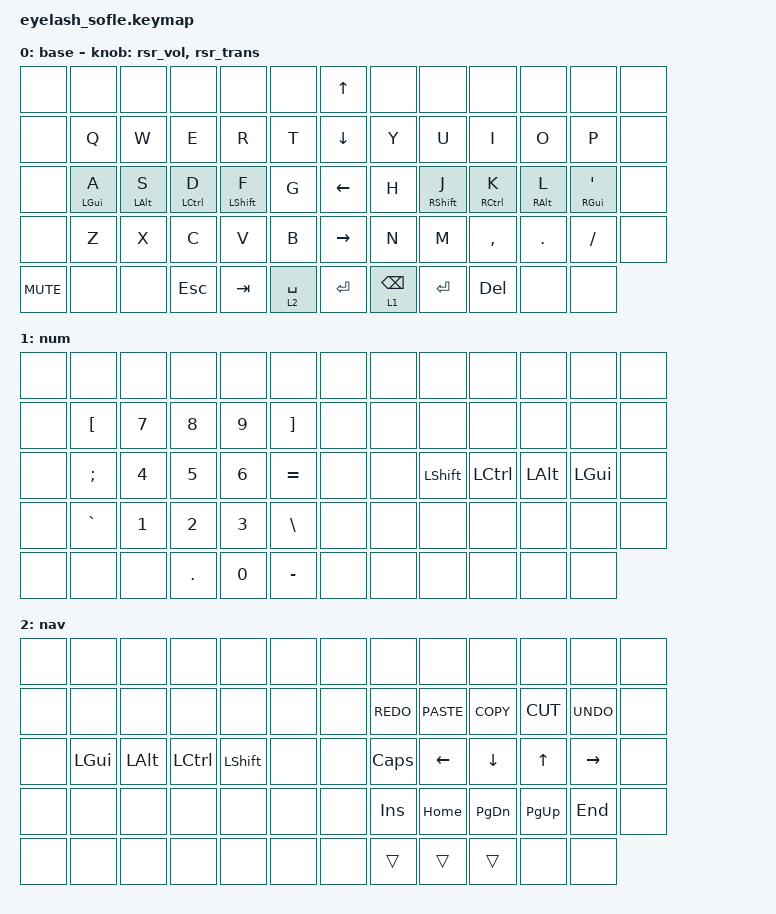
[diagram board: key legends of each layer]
#define ZMK_POINTING_DEFAULT_MOVE_VAL 1200  // 600
#define ZMK_POINTING_DEFAULT_SCRL_VAL 25   // 10

#include <input/processors.dtsi>
#include <zephyr/dt-bindings/input/input-event-codes.h>
#include <behaviors/runtime-sensor-rotate.dtsi>
#include <behaviors.dtsi>
#include <dt-bindings/zmk/keys.h>
#include <dt-bindings/zmk/pointing.h>

&mmv_input_listener { input-processors = <&zip_xy_scaler 2 1>; };

&msc_input_listener { input-processors = <&zip_scroll_scaler 2 1>; };

&msc {
    acceleration-exponent = <1>;      // 0
    time-to-max-speed-ms = <100>;       // 300
    delay-ms = <0>;                   // 0
};

&mmv {
    time-to-max-speed-ms = <500>;
    acceleration-exponent = <1>;
    trigger-period-ms = <16>;
};

&soft_off { hold-time-ms = <2000>; };

/ {
    scroll_encoder: scroll_encoder {
        compatible = "zmk,behavior-sensor-rotate";
        #sensor-binding-cells = <0>;
        bindings = <&msc SCRL_DOWN>, <&msc SCRL_UP>;

        tap-ms = <100>;
    };

    behaviors {
        rsr_vol: rsr_vol {
            compatible = "zmk,behavior-runtime-sensor-rotate";
            #sensor-binding-cells = <0>;
            tap-ms = <5>;
            cw-binding = <&kp C_VOL_UP>;
            ccw-binding = <&kp C_VOL_DN>;
        };

        rsr_trans: rsr_trans {
            compatible = "zmk,behavior-runtime-sensor-rotate";
            #sensor-binding-cells = <0>;
            tap-ms = <0>;
        };
    };

    combos {
        compatible = "zmk,combos";

        softoff {
            bindings = <&soft_off>;
            key-positions = <14 28 40>;
        };
    };

    macros {
        SHIFT_MCLK: SHIFT_MCLK {
            compatible = "zmk,behavior-macro";
            #binding-cells = <0>;
            bindings =
                <&macro_press>,
                <&kp LEFT_SHIFT>,
                <&macro_press>,
                <&mkp MB3>,
                <&macro_pause_for_release>,
                <&macro_release>,
                <&kp LEFT_SHIFT &mkp MB3>;

            label = "SHIFT_MCLK";
        };
    };

    keymap {
        compatible = "zmk,keymap";

        base {
            bindings = <
&none       &none           &none           &none        &none             &none          &kp UP_ARROW     &none            &none              &none                &none            &none                     &none
&none       &kp Q           &kp W           &kp E        &kp R             &kp T          &kp DOWN_ARROW   &kp Y            &kp U              &kp I                &kp O            &kp P                     &none
&none       &mt LEFT_GUI A  &mt LEFT_ALT S  &mt LCTRL D  &mt LEFT_SHIFT F  &kp G          &kp LEFT_ARROW   &kp H            &mt RIGHT_SHIFT J  &mt RIGHT_CONTROL K  &mt RIGHT_ALT L  &mt RIGHT_GUI APOSTROPHE  &none
&none       &kp Z           &kp X           &kp C        &kp V             &kp B          &kp RIGHT_ARROW  &kp N            &kp M              &kp COMMA            &kp DOT          &kp FSLH                  &none
&kp C_MUTE  &none           &none           &kp ESCAPE   &kp TAB           &lt 2 SPACE    &kp ENTER        &lt 1 BACKSPACE  &kp ENTER          &kp DELETE           &none            &none
            >;

            sensor-bindings = <&rsr_vol &rsr_trans>;
            display-name = "base";
        };

        num {
            bindings = <
&none  &none             &none   &none       &none         &none                &none  &none  &none           &none      &none     &none     &none
&none  &kp LEFT_BRACKET  &kp N7  &kp N8      &kp N9        &kp RIGHT_BRACKET    &none  &none  &none           &none      &none     &none     &none
&none  &kp SEMICOLON     &kp N4  &kp N5      &kp N6        &kp EQUAL            &none  &none  &kp LEFT_SHIFT  &kp LCTRL  &kp LALT  &kp LGUI  &none
&none  &kp GRAVE         &kp N1  &kp N2      &kp N3        &kp BACKSLASH        &none  &none  &none           &none      &none     &none     &none
&none  &none             &none   &kp PERIOD  &kp NUMBER_0  &kp MINUS            &none  &none  &none           &none      &none     &none
            >;
        };

        nav {
            bindings = <
&none  &none     &none     &none      &none      &none    &none  &none       &none        &none          &none        &none       &none
&none  &none     &none     &none      &none      &none    &none  &kp K_REDO  &kp K_PASTE  &kp K_COPY     &kp K_CUT    &kp K_UNDO  &none
&none  &kp LGUI  &kp LALT  &kp LCTRL  &kp LSHFT  &none    &none  &kp CAPS    &kp LEFT     &kp DOWN       &kp UP       &kp RIGHT   &none
&none  &none     &none     &none      &none      &none    &none  &kp INSERT  &kp HOME     &kp PAGE_DOWN  &kp PAGE_UP  &kp END     &none
&none  &none     &none     &none      &none      &none    &none  &trans      &trans       &trans         &none        &none
            >;
        };
    };
};
